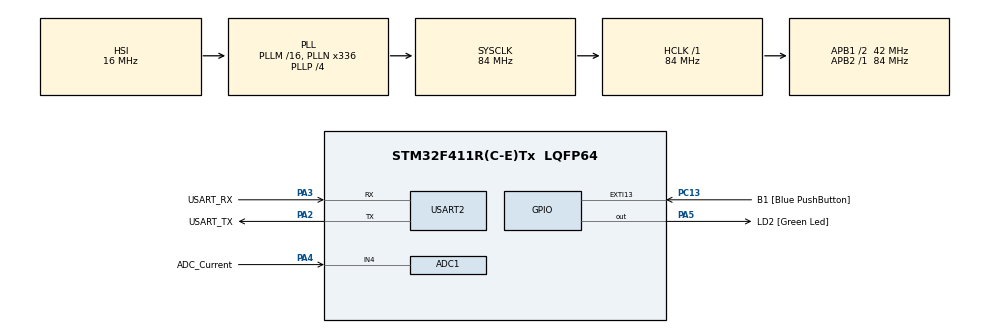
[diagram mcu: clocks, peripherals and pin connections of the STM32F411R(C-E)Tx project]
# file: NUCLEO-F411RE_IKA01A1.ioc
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ADC1.Channel-0\#ChannelRegularConversion=ADC_CHANNEL_4
ADC1.ContinuousConvMode=ENABLE
ADC1.NbrOfConversionFlag=1
ADC1.Rank-0\#ChannelRegularConversion=1
ADC1.SamplingTime-0\#ChannelRegularConversion=ADC_SAMPLETIME_480CYCLES
ADC1.master=1
Mcu.Family=STM32F4
Mcu.Name=STM32F411R(C-E)Tx
Mcu.Package=LQFP64
NVIC.PriorityGroup=NVIC_PRIORITYGROUP_0
PA13.GPIO_Label=TMS
PA13.Signal=SYS_JTMS-SWDIO
PA2.GPIO_Label=USART_TX
PA2.Mode=Asynchronous
PA2.Signal=USART2_TX
PA3.GPIO_Label=USART_RX
PA3.Mode=Asynchronous
PA3.Signal=USART2_RX
PA4.GPIO_Label=ADC_Current
PA4.Signal=ADCx_IN4
PA5.GPIO_Label=LD2 [Green Led]
PA5.Signal=GPIO_Output
PC13-ANTI_TAMP.GPIO_Label=B1 [Blue PushButton]
PC13-ANTI_TAMP.GPIO_ModeDefaultEXTI=GPIO_MODE_IT_FALLING
PC13-ANTI_TAMP.Signal=GPXTI13
ProjectManager.HeapSize=0x200
ProjectManager.StackSize=0x400
ProjectManager.TargetToolchain=STM32CubeIDE
RCC.48MHZClocksFreq_Value=84000000
RCC.AHBFreq_Value=84000000
RCC.APB1CLKDivider=RCC_HCLK_DIV2
RCC.APB1Freq_Value=42000000
RCC.APB1TimFreq_Value=84000000
RCC.APB2Freq_Value=84000000
RCC.APB2TimFreq_Value=84000000
RCC.CortexFreq_Value=84000000
RCC.FLatency-AdvancedSettings=FLASH_LATENCY_2
RCC.HCLKFreq_Value=84000000
RCC.HSE_VALUE=8000000
RCC.HSI_VALUE=16000000
RCC.LSE_VALUE=32768
RCC.PLLN=336
RCC.PLLP=RCC_PLLP_DIV4
RCC.SYSCLKFreq_VALUE=84000000
RCC.SYSCLKSource=RCC_SYSCLKSOURCE_PLLCLK
RCC.VCOOutputFreq_Value=336000000
SH.ADCx_IN4.0=ADC1_IN4,IN4
TIM2.Prescaler=84 - 1
USART2.VirtualMode=VM_ASYNC
VP_TIM2_VS_ClockSourceINT.Mode=Internal
board=NUCLEO-F411RE

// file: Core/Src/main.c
/* USER CODE BEGIN Header */
/**
  ******************************************************************************
  * @file           : main.c
  * @brief          : Main program body
  ******************************************************************************
  * @attention
  *
  * Copyright (c) 2022 STMicroelectronics.
  * All rights reserved.
  *
  * This software is licensed under terms that can be found in the LICENSE file
  * in the root directory of this software component.
  * If no LICENSE file comes with this software, it is provided AS-IS.
  *
  ******************************************************************************
  */
/* USER CODE END Header */
#include "main.h"

/* USER CODE BEGIN Includes */
#include <string.h>
#include <stdio.h>
#include <cycle_dwt.h>
#include "NanoEdgeAI.h"

/* USER CODE END Includes */

/* USER CODE BEGIN PD */
/************************************************************ NEAI algorithm defines begin ************************************************************/
/************************************************************ Global settings part ************************************************************/
#ifndef SAMPLES
  #define SAMPLES           256     /* Should be between 16 & 4096 */
#endif
#ifndef CURRENT_ODR
  #define CURRENT_ODR       1000    /* Should be between 1 & 100 kHz */
#endif
/************************************************************ Datalogger / NEAI mode part ************************************************************/
#ifndef NEAI_MODE
  #define NEAI_MODE         0       /* 0: Datalogger mode, 1: NEAI functions mode */
#endif
#if (NEAI_MODE == 1)
  #ifndef NEAI_LEARN_NB
    #define NEAI_LEARN_NB   50      /* Number of buffers to be learn by the NEAI library */
  #endif
#endif
/************************************************************ NEAI algorithm defines end ************************************************************/
/* USER CODE END PD */

ADC_HandleTypeDef hadc1;

TIM_HandleTypeDef htim2;

UART_HandleTypeDef huart2;

/* USER CODE BEGIN PV */
uint8_t neai_similarity = 0, neai_state = 0;
uint16_t neai_cnt = 0;
float odr_timer = 0.0, time_cycles = 0.0;
float neai_time = 0.0;
float neai_buffer[SAMPLES] = {0.0};

/* USER CODE END PV */

void SystemClock_Config(void);
static void MX_GPIO_Init(void);
static void MX_ADC1_Init(void);
static void MX_USART2_UART_Init(void);
static void MX_TIM2_Init(void);
/* USER CODE BEGIN PFP */
static void NEAI_Delay_us (uint32_t us);
static void get_adc_data(void);
static void convert_adc_data_to_mA(void);

/* USER CODE END PFP */

int main(void)
{

  /* MCU Configuration--------------------------------------------------------*/

  /* Reset of all peripherals, Initializes the Flash interface and the Systick. */
  HAL_Init();

  /* Configure the system clock */
  SystemClock_Config();

  /* Initialize all configured peripherals */
  MX_GPIO_Init();
  MX_ADC1_Init();
  MX_USART2_UART_Init();
  MX_TIM2_Init();
  /* USER CODE BEGIN 2 */
  KIN1_InitCycleCounter();
  KIN1_EnableCycleCounter();
  HAL_TIM_Base_Start(&htim2);
  /* Get the time to wait between each samples in µs */
  odr_timer = 1000000.0 / CURRENT_ODR;
  if (NEAI_MODE) {
    neai_state = neai_anomalydetection_init();
    printf("Initialize NEAI library. NEAI init return: %d.\n",  neai_state);
  }
  /* USER CODE END 2 */

  /* Infinite loop */
  /* USER CODE BEGIN WHILE */
  while (1)
  {
    get_adc_data();
    convert_adc_data_to_mA();
#if NEAI_MODE
    uint32_t cycles_cnt = 0;
    if (neai_cnt < NEAI_LEARN_NB) {
      neai_cnt++;
      KIN1_ResetCycleCounter();
      neai_state = neai_anomalydetection_learn(neai_buffer);
      cycles_cnt = KIN1_GetCycleCounter();
      neai_time = (cycles_cnt * 1000000.0) / HAL_RCC_GetSysClockFreq();
      printf("Learn: %d / %d. NEAI learn return: %d. Cycles counter: %ld = %.1f µs at %ld Hz.\n",
            neai_cnt, NEAI_LEARN_NB, neai_state, cycles_cnt, neai_time, HAL_RCC_GetSysClockFreq());
    }
    else {
      KIN1_ResetCycleCounter();
      neai_state = neai_anomalydetection_detect(neai_buffer, &neai_similarity);
      cycles_cnt = KIN1_GetCycleCounter();
      neai_time = (cycles_cnt * 1000000.0) / HAL_RCC_GetSysClockFreq();
      printf("Similarity: %d / 100. NEAI detect return: %d. Cycles counter: %ld = %.1f µs at %ld Hz.\n",
            neai_similarity, neai_state, cycles_cnt, neai_time, HAL_RCC_GetSysClockFreq());
    }
#else
    for (uint16_t i = 0; i < SAMPLES; i++) {
      printf("%.3f ", neai_buffer[i]);
    }
    printf("\n");
#endif
    /* Clean neai buffer */
    memset(neai_buffer, 0x00, SAMPLES * sizeof(float));
    /* USER CODE END WHILE */

  }
}

void SystemClock_Config(void)
{
  RCC_OscInitTypeDef RCC_OscInitStruct = {0};
  RCC_ClkInitTypeDef RCC_ClkInitStruct = {0};

  /** Configure the main internal regulator output voltage
  */
  __HAL_RCC_PWR_CLK_ENABLE();
  __HAL_PWR_VOLTAGESCALING_CONFIG(PWR_REGULATOR_VOLTAGE_SCALE1);

  /** Initializes the RCC Oscillators according to the specified parameters
  * in the RCC_OscInitTypeDef structure.
  */
  RCC_OscInitStruct.OscillatorType = RCC_OSCILLATORTYPE_HSI;
  RCC_OscInitStruct.HSIState = RCC_HSI_ON;
  RCC_OscInitStruct.HSICalibrationValue = RCC_HSICALIBRATION_DEFAULT;
  RCC_OscInitStruct.PLL.PLLState = RCC_PLL_ON;
  RCC_OscInitStruct.PLL.PLLSource = RCC_PLLSOURCE_HSI;
  RCC_OscInitStruct.PLL.PLLM = 16;
  RCC_OscInitStruct.PLL.PLLN = 336;
  RCC_OscInitStruct.PLL.PLLP = RCC_PLLP_DIV4;
  RCC_OscInitStruct.PLL.PLLQ = 4;
  if (HAL_RCC_OscConfig(&RCC_OscInitStruct) != HAL_OK)
  {
    Error_Handler();
  }

  /** Initializes the CPU, AHB and APB buses clocks
  */
  RCC_ClkInitStruct.ClockType = RCC_CLOCKTYPE_HCLK|RCC_CLOCKTYPE_SYSCLK
                              |RCC_CLOCKTYPE_PCLK1|RCC_CLOCKTYPE_PCLK2;
  RCC_ClkInitStruct.SYSCLKSource = RCC_SYSCLKSOURCE_PLLCLK;
  RCC_ClkInitStruct.AHBCLKDivider = RCC_SYSCLK_DIV1;
  RCC_ClkInitStruct.APB1CLKDivider = RCC_HCLK_DIV2;
  RCC_ClkInitStruct.APB2CLKDivider = RCC_HCLK_DIV1;

  if (HAL_RCC_ClockConfig(&RCC_ClkInitStruct, FLASH_LATENCY_2) != HAL_OK)
  {
    Error_Handler();
  }
}

static void MX_ADC1_Init(void)
{

  ADC_ChannelConfTypeDef sConfig = {0};

  /** Configure the global features of the ADC (Clock, Resolution, Data Alignment and number of conversion)
  */
  hadc1.Instance = ADC1;
  hadc1.Init.ClockPrescaler = ADC_CLOCK_SYNC_PCLK_DIV4;
  hadc1.Init.Resolution = ADC_RESOLUTION_12B;
  hadc1.Init.ScanConvMode = DISABLE;
  hadc1.Init.ContinuousConvMode = ENABLE;
  hadc1.Init.DiscontinuousConvMode = DISABLE;
  hadc1.Init.ExternalTrigConvEdge = ADC_EXTERNALTRIGCONVEDGE_NONE;
  hadc1.Init.ExternalTrigConv = ADC_SOFTWARE_START;
  hadc1.Init.DataAlign = ADC_DATAALIGN_RIGHT;
  hadc1.Init.NbrOfConversion = 1;
  hadc1.Init.DMAContinuousRequests = DISABLE;
  hadc1.Init.EOCSelection = ADC_EOC_SINGLE_CONV;
  if (HAL_ADC_Init(&hadc1) != HAL_OK)
  {
    Error_Handler();
  }

  /** Configure for the selected ADC regular channel its corresponding rank in the sequencer and its sample time.
  */
  sConfig.Channel = ADC_CHANNEL_4;
  sConfig.Rank = 1;
  sConfig.SamplingTime = ADC_SAMPLETIME_480CYCLES;
  if (HAL_ADC_ConfigChannel(&hadc1, &sConfig) != HAL_OK)
  {
    Error_Handler();
  }

}

static void MX_TIM2_Init(void)
{

  TIM_ClockConfigTypeDef sClockSourceConfig = {0};
  TIM_MasterConfigTypeDef sMasterConfig = {0};

  htim2.Instance = TIM2;
  htim2.Init.Prescaler = 84 - 1;
  htim2.Init.CounterMode = TIM_COUNTERMODE_UP;
  htim2.Init.Period = 4294967295;
  htim2.Init.ClockDivision = TIM_CLOCKDIVISION_DIV1;
  htim2.Init.AutoReloadPreload = TIM_AUTORELOAD_PRELOAD_DISABLE;
  if (HAL_TIM_Base_Init(&htim2) != HAL_OK)
  {
    Error_Handler();
  }
  sClockSourceConfig.ClockSource = TIM_CLOCKSOURCE_INTERNAL;
  if (HAL_TIM_ConfigClockSource(&htim2, &sClockSourceConfig) != HAL_OK)
  {
    Error_Handler();
  }
  sMasterConfig.MasterOutputTrigger = TIM_TRGO_RESET;
  sMasterConfig.MasterSlaveMode = TIM_MASTERSLAVEMODE_DISABLE;
  if (HAL_TIMEx_MasterConfigSynchronization(&htim2, &sMasterConfig) != HAL_OK)
  {
    Error_Handler();
  }

}

static void MX_USART2_UART_Init(void)
{

  huart2.Instance = USART2;
  huart2.Init.BaudRate = 115200;
  huart2.Init.WordLength = UART_WORDLENGTH_8B;
  huart2.Init.StopBits = UART_STOPBITS_1;
  huart2.Init.Parity = UART_PARITY_NONE;
  huart2.Init.Mode = UART_MODE_TX_RX;
  huart2.Init.HwFlowCtl = UART_HWCONTROL_NONE;
  huart2.Init.OverSampling = UART_OVERSAMPLING_16;
  if (HAL_UART_Init(&huart2) != HAL_OK)
  {
    Error_Handler();
  }

}

static void MX_GPIO_Init(void)
{
  GPIO_InitTypeDef GPIO_InitStruct = {0};

  /* GPIO Ports Clock Enable */
  __HAL_RCC_GPIOC_CLK_ENABLE();
  __HAL_RCC_GPIOA_CLK_ENABLE();

  /*Configure GPIO pin Output Level */
  HAL_GPIO_WritePin(LD2_GPIO_Port, LD2_Pin, GPIO_PIN_RESET);

  /*Configure GPIO pin : B1_Pin */
  GPIO_InitStruct.Pin = B1_Pin;
  GPIO_InitStruct.Mode = GPIO_MODE_IT_FALLING;
  GPIO_InitStruct.Pull = GPIO_NOPULL;
  HAL_GPIO_Init(B1_GPIO_Port, &GPIO_InitStruct);

  /*Configure GPIO pin : LD2_Pin */
  GPIO_InitStruct.Pin = LD2_Pin;
  GPIO_InitStruct.Mode = GPIO_MODE_OUTPUT_PP;
  GPIO_InitStruct.Pull = GPIO_NOPULL;
  GPIO_InitStruct.Speed = GPIO_SPEED_FREQ_LOW;
  HAL_GPIO_Init(LD2_GPIO_Port, &GPIO_InitStruct);

}

/* USER CODE BEGIN 4 */
/**
  * @brief  Redirecting stdout to USART1 which is connected on the STLINK port
  * @retval
  * @param
  */
int __io_putchar(int ch)
{
 uint8_t c[1];
 c[0] = ch & 0x00FF;
 HAL_UART_Transmit(&huart2, &*c, 1, 10);
 return ch;
}

/*
 * @brief  Wait a delay in µs
 *
 * @param  us: delay in µs
 *
 * @return No
 *
 */
static void NEAI_Delay_us (uint32_t us)
{
  /* Set the htim2 counter to 0 in order to restart counter */
  __HAL_TIM_SET_COUNTER(&htim2, 0);
  /* According to the RM0368, in theory:
   * With APB2 at 84 MHz, and ADC_CLOCK_SYNC_PCLK_DIV4
   * ADCCLK = 21 MHz and sampling time = 3 cycles:
   * Tconv = 3 + 12 = 15 ADC clock cycles = 0.7 µs
   * In practice: we wait µs - "2", seems to be better
   */
  while (__HAL_TIM_GET_COUNTER(&htim2) < us - 2);
}

/*
 * @brief  Get the ADC raw values in the neai buffer
 *
 * @param  No
 *
 * @return No
 *
 */
static void get_adc_data ()
{
  for (uint16_t i = 0; i < SAMPLES; i++) {
    HAL_ADC_Start(&hadc1);
    /* Here we call PollForConversion function without delay */
    HAL_ADC_PollForConversion(&hadc1, 0);
    /* Get ADC data in neai_buffer */
    neai_buffer[i] = HAL_ADC_GetValue(&hadc1);
    NEAI_Delay_us(odr_timer);
  }
}

/*
 * @brief  Convert the ADC raw values to mA
 *
 * @param  No
 *
 * @return No
 *
 */
static void convert_adc_data_to_mA ()
{
  for (uint16_t i = 0; i < SAMPLES; i++) {
    /* Transform raw ADC values in mA thanks to the conversion formula */
    neai_buffer[i] = 805.0 * neai_buffer[i] / 1586.0;
  }
}

/* USER CODE END 4 */

void Error_Handler(void)
{
  __disable_irq();
  while (1)
  {
  }
}
